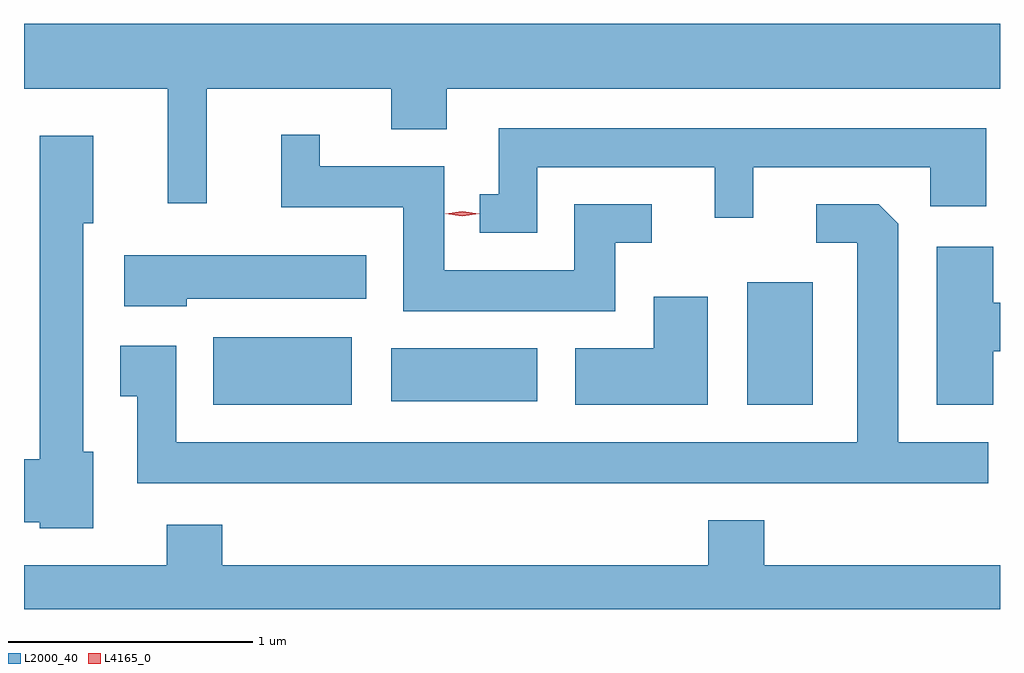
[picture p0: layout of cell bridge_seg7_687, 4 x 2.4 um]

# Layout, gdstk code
import gdstk
lib = gdstk.Library(unit=1e-6, precision=1e-09)
def R(c, l, rs):  # rectangles x0, y0, x1, y1
    for r in rs: c.add(gdstk.rectangle(r[:2], r[2:], *l))
def P(c, l, *ps):  # polygons
    for p in ps: c.add(gdstk.Polygon(p, *l))
L2000_40 = (2000, 40)
L4165_0 = (4165, 0)

bridge_seg7_687 = lib.new_cell('bridge_seg7_687')
R(bridge_seg7_687, L2000_40, [(882.371,1721.901,882.939,1722.179), (884.561,1721.901,884.829,1722.404), (883.101,1721.916,883.699,1722.134)])
P(bridge_seg7_687, L2000_40, [(882.344,1723.196),(883.101,1723.196),(883.101,1723.031),(883.329,1723.031),(883.329,1723.196),(885.596,1723.196),(885.596,1723.464),(881.596,1723.464),(881.596,1723.196),(882.186,1723.196),(882.186,1722.728),(882.344,1722.728)],
  [(883.699,1722.876),(884.426,1722.876),(884.426,1722.668),(884.584,1722.668),(884.584,1722.876),(885.311,1722.876),(885.311,1722.716),(885.539,1722.716),(885.539,1723.034),(883.541,1723.034),(883.541,1722.764),(883.463,1722.764),(883.463,1722.606),(883.699,1722.606)],
  [(884.019,1722.566),(884.168,1722.566),(884.168,1722.724),(883.851,1722.724),(883.851,1722.454),(883.319,1722.454),(883.319,1722.879),(882.809,1722.879),(882.809,1723.008),(882.651,1723.008),(882.651,1722.711),(883.151,1722.711),(883.151,1722.286),(884.019,1722.286)],
  [(881.879,1721.709),(881.839,1721.709),(881.839,1722.646),(881.879,1722.646),(881.879,1723.004),(881.661,1723.004),(881.661,1721.679),(881.596,1721.679),(881.596,1721.421),(881.661,1721.421),(881.661,1721.396),(881.879,1721.396)],
  [(885.548,1721.749),(885.179,1721.749),(885.179,1722.644),(885.099,1722.724),(884.843,1722.724),(884.843,1722.566),(885.011,1722.566),(885.011,1721.749),(882.219,1721.749),(882.219,1722.144),(881.991,1722.144),(881.991,1721.936),(882.061,1721.936),(882.061,1721.581),(885.548,1721.581)],
  [(885.569,1722.121),(885.596,1722.121),(885.596,1722.319),(885.569,1722.319),(885.569,1722.549),(885.336,1722.549),(885.336,1721.901),(885.569,1721.901)],
  [(882.264,1722.336),(882.999,1722.336),(882.999,1722.514),(882.006,1722.514),(882.006,1722.306),(882.264,1722.306)],
  [(884.399,1722.344),(884.176,1722.344),(884.176,1722.134),(883.856,1722.134),(883.856,1721.901),(884.399,1721.901)],
  [(885.596,1721.244),(884.629,1721.244),(884.629,1721.429),(884.401,1721.429),(884.401,1721.244),(882.409,1721.244),(882.409,1721.409),(882.181,1721.409),(882.181,1721.244),(881.596,1721.244),(881.596,1721.063),(885.596,1721.063)])
P(bridge_seg7_687, L4165_0, [(883.392,1722.675),(883.322,1722.684),(883.322,1722.684),(883.322,1722.685),(883.392,1722.694),(883.461,1722.685),(883.461,1722.685),(883.461,1722.684)])

lib.write_gds('bridge_seg7_687.gds')
